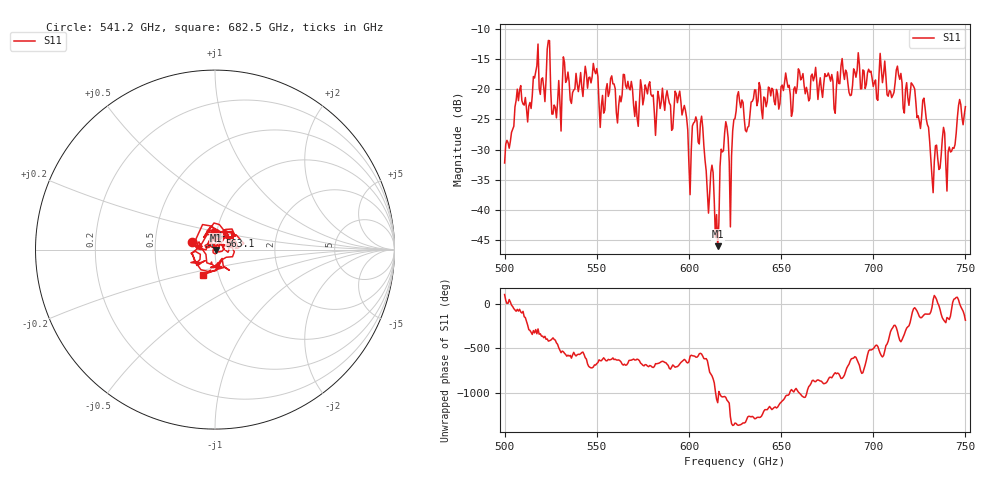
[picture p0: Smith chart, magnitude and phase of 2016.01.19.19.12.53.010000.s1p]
!Created with skrf (http://scikit-rf.org).
# GHz S RI R 50.0
!freq ReS11 ImS11
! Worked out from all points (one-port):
!   401 points, 500 GHz to 750 GHz, reference 50 ohm
!   lowest |S11| = -46.0 dB at 615.6 GHz (marker M1), VSWR 1.01, Z = 50.4 - j0.228 ohm
!   |S11| at or under -10 dB: start of sweep to end of sweep
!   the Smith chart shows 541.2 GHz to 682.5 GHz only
!   S11 on the Smith chart (normalised r, x): 541.2 GHz: 0.77, +0.07; 563.1 GHz: 1.04, +0.16; 682.5 GHz: 0.84, -0.24
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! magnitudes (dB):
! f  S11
! 500 GHz  -32.2
! 507.5 GHz  -21.9
! 513.8 GHz  -22.2
! 516.9 GHz  -17.1
! 520.6 GHz  -18.1
! 523.8 GHz  -11.9
! 526.9 GHz  -22.6
! 531.2 GHz  -19.7
! 541.2 GHz  -17.2
! 562.5 GHz  -21.1
! 563.1 GHz  -22.1
! 593.8 GHz  -22.2
! 600 GHz  -32.4
! 603.1 GHz  -25.4
! 607.5 GHz  -26.3
! 610 GHz  -37.0
! 615.6 GHz  -46.0
! 618.8 GHz  -30.2
! 622.5 GHz  -42.8
! 625 GHz  -24.8
! 656.2 GHz  -23.6
! 682.5 GHz  -16.1
! 687.5 GHz  -21.0
! 705 GHz  -18.9
! 718.8 GHz  -21.4
! 728.1 GHz  -23.1
! 732.5 GHz  -37.2
! 750 GHz  -22.9
